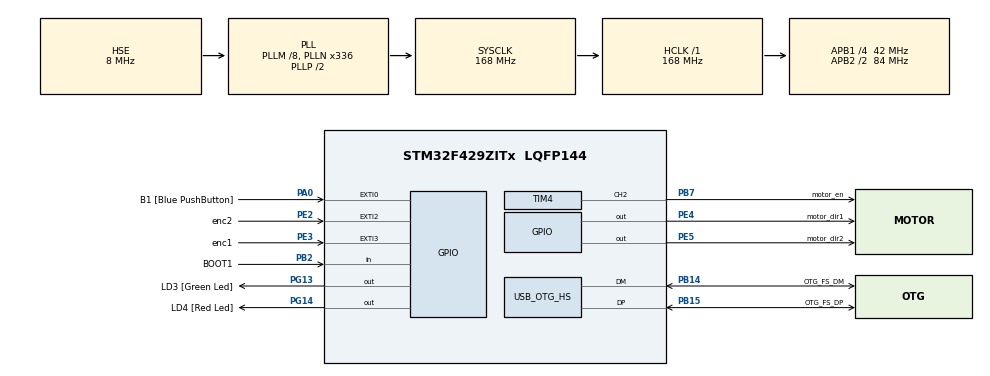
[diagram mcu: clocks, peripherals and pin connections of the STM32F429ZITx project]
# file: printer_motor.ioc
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Mcu.Family=STM32F4
Mcu.Name=STM32F429ZITx
Mcu.Package=LQFP144
NVIC.EXTI2_IRQn=true\:0\:1\:true\:false\:true\:true
NVIC.EXTI3_IRQn=true\:0\:1\:true\:false\:true\:true
NVIC.OTG_HS_IRQn=true\:0\:0\:false\:false\:true\:false
NVIC.PriorityGroup=NVIC_PRIORITYGROUP_0
PA0/WKUP.GPIO_Label=B1 [Blue PushButton]
PA0/WKUP.GPIO_ModeDefaultEXTI=GPIO_MODE_EVT_RISING
PA0/WKUP.GPIO_PuPd=GPIO_NOPULL
PA0/WKUP.Signal=GPXTI0
PA10.GPIO_Label=STLINK_TX [STM32F103CBT6_PA2]
PA10.Signal=USART1_RX
PA11.GPIO_Label=R4
PA11.GPIO_Mode=GPIO_MODE_AF_PP
PA11.GPIO_PuPd=GPIO_NOPULL
PA11.GPIO_Speed=GPIO_SPEED_FREQ_LOW
PA11.Signal=LTDC_R4
PA12.GPIO_Label=R5
PA12.GPIO_Mode=GPIO_MODE_AF_PP
PA12.GPIO_PuPd=GPIO_NOPULL
PA12.GPIO_Speed=GPIO_SPEED_FREQ_LOW
PA12.Signal=LTDC_R5
PA13.GPIO_Label=SWDIO
PA13.Signal=SYS_JTMS-SWDIO
PA14.GPIO_Label=SWCLK
PA14.Signal=SYS_JTCK-SWCLK
PA3.GPIO_Label=B5
PA3.GPIO_Mode=GPIO_MODE_AF_PP
PA3.GPIO_PuPd=GPIO_NOPULL
PA3.GPIO_Speed=GPIO_SPEED_FREQ_LOW
PA3.Signal=LTDC_B5
PA4.GPIO_Label=VSYNC
PA4.GPIO_Mode=GPIO_MODE_AF_PP
PA4.GPIO_PuPd=GPIO_NOPULL
PA4.GPIO_Speed=GPIO_SPEED_FREQ_LOW
PA4.Signal=LTDC_VSYNC
PA6.GPIO_Label=G2
PA6.GPIO_Mode=GPIO_MODE_AF_PP
PA6.GPIO_PuPd=GPIO_NOPULL
PA6.GPIO_Speed=GPIO_SPEED_FREQ_LOW
PA6.Signal=LTDC_G2
PA8.GPIO_Label=I2C3_SCL [ACP/RF_SCL]
PA8.GPIO_Mode=GPIO_MODE_AF_OD
PA8.GPIO_PuPd=GPIO_NOPULL
PA8.GPIO_Speed=GPIO_SPEED_FREQ_LOW
PA8.Signal=I2C3_SCL
PA9.GPIO_Label=STLINK_RX [STM32F103CBT6_PA3]
PA9.Signal=USART1_TX
PB0.GPIO_Label=R3
PB0.GPIO_Mode=GPIO_MODE_AF_PP
PB0.GPIO_PuPd=GPIO_NOPULL
PB0.GPIO_Speed=GPIO_SPEED_FREQ_LOW
PB0.Signal=LTDC_R3
PB1.GPIO_Label=R6
PB1.GPIO_Mode=GPIO_MODE_AF_PP
PB1.GPIO_PuPd=GPIO_NOPULL
PB1.GPIO_Speed=GPIO_SPEED_FREQ_LOW
PB1.Signal=LTDC_R6
PB10.GPIO_Label=G4
PB10.GPIO_Mode=GPIO_MODE_AF_PP
PB10.GPIO_PuPd=GPIO_NOPULL
PB10.GPIO_Speed=GPIO_SPEED_FREQ_LOW
PB10.Signal=LTDC_G4
PB11.GPIO_Label=G5
PB11.GPIO_Mode=GPIO_MODE_AF_PP
PB11.GPIO_PuPd=GPIO_NOPULL
PB11.GPIO_Speed=GPIO_SPEED_FREQ_LOW
PB11.Signal=LTDC_G5
PB12.GPIO_Label=OTG_FS_ID
PB12.GPIO_Mode=GPIO_MODE_AF_PP
PB12.GPIO_PuPd=GPIO_NOPULL
PB12.GPIO_Speed=GPIO_SPEED_FREQ_LOW
PB12.Signal=USB_OTG_HS_ID
PB13.GPIO_Label=VBUS_FS
PB13.GPIO_Mode=GPIO_MODE_INPUT
PB13.GPIO_PuPd=GPIO_NOPULL
PB13.Signal=USB_OTG_HS_VBUS
PB14.GPIO_Label=OTG_FS_DM
PB14.GPIO_Mode=GPIO_MODE_AF_PP
PB14.GPIO_PuPd=GPIO_NOPULL
PB14.GPIO_Speed=GPIO_SPEED_FREQ_LOW
PB14.Mode=Device_Only_FS
PB14.Signal=USB_OTG_HS_DM
PB15.GPIO_Label=OTG_FS_DP
PB15.GPIO_Mode=GPIO_MODE_AF_PP
PB15.GPIO_PuPd=GPIO_NOPULL
PB15.GPIO_Speed=GPIO_SPEED_FREQ_LOW
PB15.Mode=Device_Only_FS
PB15.Signal=USB_OTG_HS_DP
PB2/BOOT1.GPIO_Label=BOOT1
PB2/BOOT1.GPIO_Mode=GPIO_MODE_INPUT
PB2/BOOT1.GPIO_PuPd=GPIO_NOPULL
PB2/BOOT1.Signal=GPIO_Input
PB5.GPIO_Label=SDCKE1
PB5.GPIO_Mode=GPIO_MODE_AF_PP
PB5.GPIO_PuPd=GPIO_NOPULL
PB5.GPIO_Speed=GPIO_SPEED_FREQ_VERY_HIGH
PB5.Signal=FMC_SDCKE1
PB6.GPIO_Label=SDNE1 [SDRAM_CS]
PB6.GPIO_Mode=GPIO_MODE_AF_PP
PB6.GPIO_PuPd=GPIO_NOPULL
PB6.GPIO_Speed=GPIO_SPEED_FREQ_VERY_HIGH
PB6.Signal=FMC_SDNE1
PB7.GPIO_Label=motor_en
PB7.Signal=S_TIM4_CH2
PB8.GPIO_Label=B6
PB8.GPIO_Mode=GPIO_MODE_AF_PP
PB8.GPIO_PuPd=GPIO_NOPULL
PB8.GPIO_Speed=GPIO_SPEED_FREQ_LOW
PB8.Signal=LTDC_B6
PB9.GPIO_Label=B7
PB9.GPIO_Mode=GPIO_MODE_AF_PP
PB9.GPIO_PuPd=GPIO_NOPULL
PB9.GPIO_Speed=GPIO_SPEED_FREQ_LOW
PB9.Signal=LTDC_B7
PC0.GPIO_Label=SDNWE
PC0.GPIO_Mode=GPIO_MODE_AF_PP
PC0.GPIO_PuPd=GPIO_NOPULL
PC0.GPIO_Speed=GPIO_SPEED_FREQ_VERY_HIGH
PC0.Signal=FMC_SDNWE
PC10.GPIO_Label=R2
PC10.GPIO_Mode=GPIO_MODE_AF_PP
PC10.GPIO_PuPd=GPIO_NOPULL
PC10.GPIO_Speed=GPIO_SPEED_FREQ_LOW
PC10.Signal=LTDC_R2
PC14/OSC32_IN.GPIO_Label=PC14-OSC32_IN
PC14/OSC32_IN.Signal=RCC_OSC32_IN
PC15/OSC32_OUT.GPIO_Label=PC15-OSC32_OUT
PC15/OSC32_OUT.Signal=RCC_OSC32_OUT
PC6.GPIO_Label=HSYNC
PC6.GPIO_Mode=GPIO_MODE_AF_PP
PC6.GPIO_PuPd=GPIO_NOPULL
PC6.GPIO_Speed=GPIO_SPEED_FREQ_LOW
PC6.Signal=LTDC_HSYNC
PC7.GPIO_Label=G6
PC7.GPIO_Mode=GPIO_MODE_AF_PP
PC7.GPIO_PuPd=GPIO_NOPULL
PC7.GPIO_Speed=GPIO_SPEED_FREQ_LOW
PC7.Signal=LTDC_G6
PC9.GPIO_Label=I2C3_SDA [ACP/RF_SDA]
PC9.GPIO_Mode=GPIO_MODE_AF_OD
PC9.GPIO_PuPd=GPIO_NOPULL
PC9.GPIO_Speed=GPIO_SPEED_FREQ_LOW
PC9.Signal=I2C3_SDA
PD0.GPIO_Label=D2
PD0.GPIO_Mode=GPIO_MODE_AF_PP
PD0.GPIO_PuPd=GPIO_NOPULL
PD0.GPIO_Speed=GPIO_SPEED_FREQ_VERY_HIGH
PD0.Signal=FMC_D2_DA2
PD1.GPIO_Label=D3
PD1.GPIO_Mode=GPIO_MODE_AF_PP
PD1.GPIO_PuPd=GPIO_NOPULL
PD1.GPIO_Speed=GPIO_SPEED_FREQ_VERY_HIGH
PD1.Signal=FMC_D3_DA3
PD10.GPIO_Label=D15
PD10.GPIO_Mode=GPIO_MODE_AF_PP
PD10.GPIO_PuPd=GPIO_NOPULL
PD10.GPIO_Speed=GPIO_SPEED_FREQ_VERY_HIGH
PD10.Signal=FMC_D15_DA15
PD14.GPIO_Label=D0
PD14.GPIO_Mode=GPIO_MODE_AF_PP
PD14.GPIO_PuPd=GPIO_NOPULL
PD14.GPIO_Speed=GPIO_SPEED_FREQ_VERY_HIGH
PD14.Signal=FMC_D0_DA0
PD15.GPIO_Label=D1
PD15.GPIO_Mode=GPIO_MODE_AF_PP
PD15.GPIO_PuPd=GPIO_NOPULL
PD15.GPIO_Speed=GPIO_SPEED_FREQ_VERY_HIGH
PD15.Signal=FMC_D1_DA1
PD3.GPIO_Label=G7
PD3.GPIO_Mode=GPIO_MODE_AF_PP
PD3.GPIO_PuPd=GPIO_NOPULL
PD3.GPIO_Speed=GPIO_SPEED_FREQ_LOW
PD3.Signal=LTDC_G7
PD6.GPIO_Label=B2
PD6.GPIO_Mode=GPIO_MODE_AF_PP
PD6.GPIO_PuPd=GPIO_NOPULL
PD6.GPIO_Speed=GPIO_SPEED_FREQ_LOW
PD6.Signal=LTDC_B2
PD8.GPIO_Label=D13
PD8.GPIO_Mode=GPIO_MODE_AF_PP
PD8.GPIO_PuPd=GPIO_NOPULL
PD8.GPIO_Speed=GPIO_SPEED_FREQ_VERY_HIGH
PD8.Signal=FMC_D13_DA13
PD9.GPIO_Label=D14
PD9.GPIO_Mode=GPIO_MODE_AF_PP
PD9.GPIO_PuPd=GPIO_NOPULL
PD9.GPIO_Speed=GPIO_SPEED_FREQ_VERY_HIGH
PD9.Signal=FMC_D14_DA14
PE0.GPIO_Label=NBL0 [SDRAM_LDQM]
PE0.GPIO_Mode=GPIO_MODE_AF_PP
PE0.GPIO_PuPd=GPIO_NOPULL
PE0.GPIO_Speed=GPIO_SPEED_FREQ_VERY_HIGH
PE0.Signal=FMC_NBL0
PE1.GPIO_Label=NBL1 [SDRAM_UDQM]
PE1.GPIO_Mode=GPIO_MODE_AF_PP
PE1.GPIO_PuPd=GPIO_NOPULL
PE1.GPIO_Speed=GPIO_SPEED_FREQ_VERY_HIGH
PE1.Signal=FMC_NBL1
PE10.GPIO_Label=D7
PE10.GPIO_Mode=GPIO_MODE_AF_PP
PE10.GPIO_PuPd=GPIO_NOPULL
PE10.GPIO_Speed=GPIO_SPEED_FREQ_VERY_HIGH
PE10.Signal=FMC_D7_DA7
PE11.GPIO_Label=D8
PE11.GPIO_Mode=GPIO_MODE_AF_PP
PE11.GPIO_PuPd=GPIO_NOPULL
PE11.GPIO_Speed=GPIO_SPEED_FREQ_VERY_HIGH
PE11.Signal=FMC_D8_DA8
PE12.GPIO_Label=D9
PE12.GPIO_Mode=GPIO_MODE_AF_PP
PE12.GPIO_PuPd=GPIO_NOPULL
PE12.GPIO_Speed=GPIO_SPEED_FREQ_VERY_HIGH
PE12.Signal=FMC_D9_DA9
PE13.GPIO_Label=D10
PE13.GPIO_Mode=GPIO_MODE_AF_PP
PE13.GPIO_PuPd=GPIO_NOPULL
PE13.GPIO_Speed=GPIO_SPEED_FREQ_VERY_HIGH
PE13.Signal=FMC_D10_DA10
PE14.GPIO_Label=D11
PE14.GPIO_Mode=GPIO_MODE_AF_PP
PE14.GPIO_PuPd=GPIO_NOPULL
PE14.GPIO_Speed=GPIO_SPEED_FREQ_VERY_HIGH
PE14.Signal=FMC_D11_DA11
PE15.GPIO_Label=D12
PE15.GPIO_Mode=GPIO_MODE_AF_PP
PE15.GPIO_PuPd=GPIO_NOPULL
PE15.GPIO_Speed=GPIO_SPEED_FREQ_VERY_HIGH
PE15.Signal=FMC_D12_DA12
PE2.GPIO_Label=enc2
PE2.GPIO_ModeDefaultEXTI=GPIO_MODE_IT_RISING_FALLING
PE2.GPIO_PuPd=GPIO_PULLDOWN
PE2.Signal=GPXTI2
PE3.GPIO_Label=enc1
PE3.GPIO_ModeDefaultEXTI=GPIO_MODE_IT_RISING_FALLING
PE3.GPIO_PuPd=GPIO_PULLDOWN
PE3.Signal=GPXTI3
PE4.GPIO_Label=motor_dir1
PE4.Signal=GPIO_Output
PE5.GPIO_Label=motor_dir2
PE5.Signal=GPIO_Output
PE7.GPIO_Label=D4
PE7.GPIO_Mode=GPIO_MODE_AF_PP
PE7.GPIO_PuPd=GPIO_NOPULL
PE7.GPIO_Speed=GPIO_SPEED_FREQ_VERY_HIGH
PE7.Signal=FMC_D4_DA4
PE8.GPIO_Label=D5
PE8.GPIO_Mode=GPIO_MODE_AF_PP
PE8.GPIO_PuPd=GPIO_NOPULL
PE8.GPIO_Speed=GPIO_SPEED_FREQ_VERY_HIGH
PE8.Signal=FMC_D5_DA5
PE9.GPIO_Label=D6
PE9.GPIO_Mode=GPIO_MODE_AF_PP
PE9.GPIO_PuPd=GPIO_NOPULL
PE9.GPIO_Speed=GPIO_SPEED_FREQ_VERY_HIGH
PE9.Signal=FMC_D6_DA6
PF0.GPIO_Label=A0
PF0.GPIO_Mode=GPIO_MODE_AF_PP
PF0.GPIO_PuPd=GPIO_NOPULL
PF0.GPIO_Speed=GPIO_SPEED_FREQ_VERY_HIGH
PF0.Signal=FMC_A0
PF1.GPIO_Label=A1
PF1.GPIO_Mode=GPIO_MODE_AF_PP
PF1.GPIO_PuPd=GPIO_NOPULL
PF1.GPIO_Speed=GPIO_SPEED_FREQ_VERY_HIGH
PF1.Signal=FMC_A1
PF10.GPIO_Label=ENABLE [LCD-RGB_ENABLE]
PF10.GPIO_Mode=GPIO_MODE_AF_PP
PF10.GPIO_PuPd=GPIO_NOPULL
PF10.GPIO_Speed=GPIO_SPEED_FREQ_LOW
PF10.Signal=LTDC_DE
PF11.GPIO_Label=SDNRAS
PF11.GPIO_Mode=GPIO_MODE_AF_PP
PF11.GPIO_PuPd=GPIO_NOPULL
PF11.GPIO_Speed=GPIO_SPEED_FREQ_VERY_HIGH
PF11.Signal=FMC_SDNRAS
PF12.GPIO_Label=A6
PF12.GPIO_Mode=GPIO_MODE_AF_PP
PF12.GPIO_PuPd=GPIO_NOPULL
PF12.GPIO_Speed=GPIO_SPEED_FREQ_VERY_HIGH
PF12.Signal=FMC_A6
PF13.GPIO_Label=A7
PF13.GPIO_Mode=GPIO_MODE_AF_PP
PF13.GPIO_PuPd=GPIO_NOPULL
PF13.GPIO_Speed=GPIO_SPEED_FREQ_VERY_HIGH
PF13.Signal=FMC_A7
PF14.GPIO_Label=A8
PF14.GPIO_Mode=GPIO_MODE_AF_PP
PF14.GPIO_PuPd=GPIO_NOPULL
PF14.GPIO_Speed=GPIO_SPEED_FREQ_VERY_HIGH
PF14.Signal=FMC_A8
PF15.GPIO_Label=A9
PF15.GPIO_Mode=GPIO_MODE_AF_PP
PF15.GPIO_PuPd=GPIO_NOPULL
PF15.GPIO_Speed=GPIO_SPEED_FREQ_VERY_HIGH
PF15.Signal=FMC_A9
PF2.GPIO_Label=A2
PF2.GPIO_Mode=GPIO_MODE_AF_PP
PF2.GPIO_PuPd=GPIO_NOPULL
PF2.GPIO_Speed=GPIO_SPEED_FREQ_VERY_HIGH
PF2.Signal=FMC_A2
PF3.GPIO_Label=A3
PF3.GPIO_Mode=GPIO_MODE_AF_PP
PF3.GPIO_PuPd=GPIO_NOPULL
PF3.GPIO_Speed=GPIO_SPEED_FREQ_VERY_HIGH
PF3.Signal=FMC_A3
PF4.GPIO_Label=A4
PF4.GPIO_Mode=GPIO_MODE_AF_PP
PF4.GPIO_PuPd=GPIO_NOPULL
PF4.GPIO_Speed=GPIO_SPEED_FREQ_VERY_HIGH
PF4.Signal=FMC_A4
PF5.GPIO_Label=A5
PF5.GPIO_Mode=GPIO_MODE_AF_PP
PF5.GPIO_PuPd=GPIO_NOPULL
PF5.GPIO_Speed=GPIO_SPEED_FREQ_VERY_HIGH
PF5.Signal=FMC_A5
PF7.GPIO_Label=SPI5_SCK [L3GD20_SCL/SPC]
PF7.GPIO_Mode=GPIO_MODE_AF_PP
PF7.GPIO_PuPd=GPIO_NOPULL
PF7.GPIO_Speed=GPIO_SPEED_FREQ_LOW
PF7.Signal=SPI5_SCK
PF8.GPIO_Label=SPI5_MISO [L3GD20_SDO]
PF8.GPIO_Mode=GPIO_MODE_AF_PP
PF8.GPIO_PuPd=GPIO_NOPULL
PF8.GPIO_Speed=GPIO_SPEED_FREQ_LOW
PF8.Signal=SPI5_MISO
PF9.GPIO_Label=SPI5_MOSI [L3GD20_SDA/SDI/SDO]
PF9.GPIO_Mode=GPIO_MODE_AF_PP
PF9.GPIO_PuPd=GPIO_NOPULL
PF9.GPIO_Speed=GPIO_SPEED_FREQ_LOW
PF9.Signal=SPI5_MOSI
PG0.GPIO_Label=A10
PG0.GPIO_Mode=GPIO_MODE_AF_PP
PG0.GPIO_PuPd=GPIO_NOPULL
PG0.GPIO_Speed=GPIO_SPEED_FREQ_VERY_HIGH
PG0.Signal=FMC_A10
PG1.GPIO_Label=A11
PG1.GPIO_Mode=GPIO_MODE_AF_PP
PG1.GPIO_PuPd=GPIO_NOPULL
PG1.GPIO_Speed=GPIO_SPEED_FREQ_VERY_HIGH
PG1.Signal=FMC_A11
PG10.GPIO_Label=G3
PG10.GPIO_Mode=GPIO_MODE_AF_PP
PG10.GPIO_PuPd=GPIO_NOPULL
PG10.GPIO_Speed=GPIO_SPEED_FREQ_LOW
PG10.Signal=LTDC_G3
PG11.GPIO_Label=B3
PG11.GPIO_Mode=GPIO_MODE_AF_PP
PG11.GPIO_PuPd=GPIO_NOPULL
PG11.GPIO_Speed=GPIO_SPEED_FREQ_LOW
PG11.Signal=LTDC_B3
PG12.GPIO_Label=B4
PG12.GPIO_Mode=GPIO_MODE_AF_PP
PG12.GPIO_PuPd=GPIO_NOPULL
PG12.GPIO_Speed=GPIO_SPEED_FREQ_LOW
PG12.Signal=LTDC_B4
PG13.GPIO_Label=LD3 [Green Led]
PG13.GPIO_Mode=GPIO_MODE_OUTPUT_PP
PG13.GPIO_PuPd=GPIO_NOPULL
PG13.GPIO_Speed=GPIO_SPEED_FREQ_LOW
PG13.Signal=GPIO_Output
PG14.GPIO_Label=LD4 [Red Led]
PG14.GPIO_Mode=GPIO_MODE_OUTPUT_PP
PG14.GPIO_PuPd=GPIO_NOPULL
PG14.GPIO_Speed=GPIO_SPEED_FREQ_LOW
PG14.Signal=GPIO_Output
PG15.GPIO_Label=SDNCAS
PG15.GPIO_Mode=GPIO_MODE_AF_PP
PG15.GPIO_PuPd=GPIO_NOPULL
PG15.GPIO_Speed=GPIO_SPEED_FREQ_VERY_HIGH
PG15.Signal=FMC_SDNCAS
PG4.GPIO_Label=BA0
PG4.GPIO_Mode=GPIO_MODE_AF_PP
PG4.GPIO_PuPd=GPIO_NOPULL
PG4.GPIO_Speed=GPIO_SPEED_FREQ_VERY_HIGH
PG4.Signal=FMC_A14_BA0
PG5.GPIO_Label=BA1
PG5.GPIO_Mode=GPIO_MODE_AF_PP
PG5.GPIO_PuPd=GPIO_NOPULL
PG5.GPIO_Speed=GPIO_SPEED_FREQ_VERY_HIGH
PG5.Signal=FMC_A15_BA1
PG6.GPIO_Label=R7
PG6.GPIO_Mode=GPIO_MODE_AF_PP
PG6.GPIO_PuPd=GPIO_NOPULL
PG6.GPIO_Speed=GPIO_SPEED_FREQ_LOW
PG6.Signal=LTDC_R7
PG7.GPIO_Label=DOTCLK [LCT-RGB_DOTCLK]
PG7.GPIO_Mode=GPIO_MODE_AF_PP
PG7.GPIO_PuPd=GPIO_NOPULL
PG7.GPIO_Speed=GPIO_SPEED_FREQ_LOW
PG7.Signal=LTDC_CLK
PG8.GPIO_Label=SDCLK
PG8.GPIO_Mode=GPIO_MODE_AF_PP
PG8.GPIO_PuPd=GPIO_NOPULL
PG8.GPIO_Speed=GPIO_SPEED_FREQ_VERY_HIGH
PG8.Signal=FMC_SDCLK
PH0/OSC_IN.GPIO_Label=PH0-OSC_IN
PH0/OSC_IN.Mode=HSE-External-Oscillator
PH0/OSC_IN.Signal=RCC_OSC_IN
PH1/OSC_OUT.GPIO_Label=PH1-OSC_OUT
PH1/OSC_OUT.Mode=HSE-External-Oscillator
PH1/OSC_OUT.Signal=RCC_OSC_OUT
ProjectManager.HeapSize=0x1200
ProjectManager.StackSize=0x400
ProjectManager.TargetToolchain=SW4STM32
RCC.48MHZClocksFreq_Value=48000000
RCC.AHBFreq_Value=168000000
RCC.APB1CLKDivider=RCC_HCLK_DIV4
RCC.APB1Freq_Value=42000000
RCC.APB1TimFreq_Value=84000000
RCC.APB2CLKDivider=RCC_HCLK_DIV2
RCC.APB2Freq_Value=84000000
RCC.APB2TimFreq_Value=168000000
RCC.CortexFreq_Value=168000000
RCC.HCLKFreq_Value=168000000
RCC.HSE_VALUE=8000000
RCC.HSI_VALUE=16000000
RCC.LSE_VALUE=32768
RCC.PLLM=8
RCC.PLLN=336
RCC.PLLQ=7
RCC.SYSCLKFreq_VALUE=168000000
RCC.SYSCLKSource=RCC_SYSCLKSOURCE_PLLCLK
RCC.VCOOutputFreq_Value=336000000
SH.FMC_A0.0=FMC_A0
SH.FMC_A1.0=FMC_A1
SH.FMC_A10.0=FMC_A10
SH.FMC_A11.0=FMC_A11
SH.FMC_A14_BA0.0=FMC_BA0
SH.FMC_A15_BA1.0=FMC_BA1
SH.FMC_A2.0=FMC_A2
SH.FMC_A3.0=FMC_A3
SH.FMC_A4.0=FMC_A4
SH.FMC_A5.0=FMC_A5
SH.FMC_A6.0=FMC_A6
SH.FMC_A7.0=FMC_A7
SH.FMC_A8.0=FMC_A8
SH.FMC_A9.0=FMC_A9
SH.FMC_D0_DA0.0=FMC_D0
SH.FMC_D10_DA10.0=FMC_D10
SH.FMC_D11_DA11.0=FMC_D11
SH.FMC_D12_DA12.0=FMC_D12
SH.FMC_D13_DA13.0=FMC_D13
SH.FMC_D14_DA14.0=FMC_D14
SH.FMC_D15_DA15.0=FMC_D15
SH.FMC_D1_DA1.0=FMC_D1
SH.FMC_D2_DA2.0=FMC_D2
SH.FMC_D3_DA3.0=FMC_D3
SH.FMC_D4_DA4.0=FMC_D4
SH.FMC_D5_DA5.0=FMC_D5
SH.FMC_D6_DA6.0=FMC_D6
SH.FMC_D7_DA7.0=FMC_D7
SH.FMC_D8_DA8.0=FMC_D8
SH.FMC_D9_DA9.0=FMC_D9
SH.FMC_NBL0.0=FMC_NBL0
SH.FMC_NBL1.0=FMC_NBL1
SH.FMC_SDCLK.0=FMC_SDCLK
SH.FMC_SDNCAS.0=FMC_SDNCAS
SH.FMC_SDNRAS.0=FMC_SDNRAS
SH.FMC_SDNWE.0=FMC_SDNWE
SH.S_TIM4_CH2.0=TIM4_CH2,PWM Generation2 CH2
TIM4.Channel-PWM\ Generation2\ CH2=TIM_CHANNEL_2
TIM4.OCMode_PWM-PWM\ Generation2\ CH2=TIM_OCMODE_PWM1
TIM4.Period=101
TIM4.Prescaler=35
TIM4.Pulse-PWM\ Generation2\ CH2=50
USB_DEVICE.CLASS_NAME_HS=CDC
USB_DEVICE.MANUFACTURER_STRING-CDC_HS=MeSTMicroelectronics
USB_DEVICE.PRODUCT_STRING_CDC_HS=MySTM32 Virtual ComPort
USB_DEVICE.VirtualMode-CDC_HS=Cdc
USB_DEVICE.VirtualModeHS=Cdc_HS
USB_OTG_HS.VirtualMode-Device_Only_FS=Device_Only_FS
VP_USB_DEVICE_VS_USB_DEVICE_CDC_HS.Mode=CDC_HS
board=STM32F429I-DISC1

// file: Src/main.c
/**
  ******************************************************************************
  * File Name          : main.c
  * Description        : Main program body
  ******************************************************************************
  * This notice applies to any and all portions of this file
  * that are not between comment pairs USER CODE BEGIN and
  * USER CODE END. Other portions of this file, whether
  * inserted by the user or by software development tools
  * are owned by their respective copyright owners.
  *
  * Copyright (c) 2019 STMicroelectronics International N.V.
  * All rights reserved.
  *
  * Redistribution and use in source and binary forms, with or without
  * modification, are permitted, provided that the following conditions are met:
  *
  * 1. Redistribution of source code must retain the above copyright notice,
  *    this list of conditions and the following disclaimer.
  * 2. Redistributions in binary form must reproduce the above copyright notice,
  *    this list of conditions and the following disclaimer in the documentation
  *    and/or other materials provided with the distribution.
  * 3. Neither the name of STMicroelectronics nor the names of other
  *    contributors to this software may be used to endorse or promote products
  *    derived from this software without specific written permission.
  * 4. This software, including modifications and/or derivative works of this
  *    software, must execute solely and exclusively on microcontroller or
  *    microprocessor devices manufactured by or for STMicroelectronics.
  * 5. Redistribution and use of this software other than as permitted under
  *    this license is void and will automatically terminate your rights under
  *    this license.
  *
  * THIS SOFTWARE IS PROVIDED BY STMICROELECTRONICS AND CONTRIBUTORS "AS IS"
  * AND ANY EXPRESS, IMPLIED OR STATUTORY WARRANTIES, INCLUDING, BUT NOT
  * LIMITED TO, THE IMPLIED WARRANTIES OF MERCHANTABILITY, FITNESS FOR A
  * PARTICULAR PURPOSE AND NON-INFRINGEMENT OF THIRD PARTY INTELLECTUAL PROPERTY
  * RIGHTS ARE DISCLAIMED TO THE FULLEST EXTENT PERMITTED BY LAW. IN NO EVENT
  * SHALL STMICROELECTRONICS OR CONTRIBUTORS BE LIABLE FOR ANY DIRECT, INDIRECT,
  * INCIDENTAL, SPECIAL, EXEMPLARY, OR CONSEQUENTIAL DAMAGES (INCLUDING, BUT NOT
  * LIMITED TO, PROCUREMENT OF SUBSTITUTE GOODS OR SERVICES; LOSS OF USE, DATA,
  * OR PROFITS; OR BUSINESS INTERRUPTION) HOWEVER CAUSED AND ON ANY THEORY OF
  * LIABILITY, WHETHER IN CONTRACT, STRICT LIABILITY, OR TORT (INCLUDING
  * NEGLIGENCE OR OTHERWISE) ARISING IN ANY WAY OUT OF THE USE OF THIS SOFTWARE,
  * EVEN IF ADVISED OF THE POSSIBILITY OF SUCH DAMAGE.
  *
  ******************************************************************************
  */

#include "main.h"
#include "stm32f4xx_hal.h"
#include "usb_device.h"

TIM_HandleTypeDef htim4;

/* USER CODE BEGIN PV */
/* Private variables ---------------------------------------------------------*/

/* USER CODE END PV */

void SystemClock_Config(void);
static void MX_GPIO_Init(void);
static void MX_TIM4_Init(void);
void HAL_TIM_MspPostInit(TIM_HandleTypeDef *htim);

/* USER CODE BEGIN PFP */
/* Private function prototypes -----------------------------------------------*/

uint8_t new_rx = 0;
uint8_t  start = 0;
long payload_len = 0; // my data size
long packet_len = 0;  // total data received over serial
int location = 0;
int set_loc = 0;
int enc_old = 0;
long speed = 0;
uint32_t last_time = 0;
float cumulativeError = 0;
int previous_error = 0;
float kp = 0.001;
float ki = 0;
float kd = 0;

uint8_t UserRxBufferHS[2048];
uint8_t UserTxBufferHS[2048];

void error_state(){
	HAL_GPIO_WritePin(LD4_GPIO_Port, LD4_Pin, GPIO_PIN_SET);
}

void send_payload(){

}

void motor(int speed, int dir){
	if (!dir){
		HAL_GPIO_WritePin(motor_dir1_GPIO_Port, motor_dir1_Pin, 1);
		HAL_GPIO_WritePin(motor_dir2_GPIO_Port, motor_dir2_Pin, 0);
		HAL_GPIO_WritePin(LD3_GPIO_Port, LD3_Pin, GPIO_PIN_SET);
	}
	else{
		HAL_GPIO_WritePin(motor_dir1_GPIO_Port, motor_dir1_Pin, 0);
		HAL_GPIO_WritePin(motor_dir2_GPIO_Port, motor_dir2_Pin, 1);
		HAL_GPIO_WritePin(LD3_GPIO_Port, LD3_Pin, GPIO_PIN_RESET);
	}
	__HAL_TIM_SET_COMPARE(&htim4, TIM_CHANNEL_2, speed); // set duty cycle 0->101 using CCR register
}

int map50_100(float pwm){ // -1 to 1 to 50 to 100. does not take dir into account.
	if (pwm < 0){ // -ve dir
		pwm = pwm * -1;
	}
	if (pwm > 1){ // maxed
		pwm = 1;
	}
	return (pwm+1)*50;
}

void x_task(){
	int error = set_loc - location;
	float prop = error*kp;

//	uint32_t cur_time = HAL_GetTick();
//	uint32_t elasped_time = cur_time - last_time;
	cumulativeError += error*ki;
	if (cumulativeError > 1){
		cumulativeError = 1;
	}
	if (cumulativeError < -1){
		cumulativeError = -1;
	}

	float derivative = (error - previous_error)*kd;
	float pwm = prop + cumulativeError + derivative;

//	last_time = cur_time;
	previous_error = error;
	if (error == 0) // completely kill
	{
		motor(0, 0);
	}
	if (pwm < 0){
		motor(map50_100(pwm), 0); // left
	}
	else{
		motor(map50_100(pwm), 1); // right
	}
//	int len = snprintf(UserTxBufferHS, 100, "p=%f,i=%f,d=%f,pg=%f,ig=%f,dg=%f,e=%d,pwm=%f\n",prop, cumulativeError, derivative, kp, ki, kd, error, pwm);
//	CDC_Transmit_HS(UserTxBufferHS, len); // send it out
}

void decode_payload(){
	char type = UserRxBufferHS[0];
	if (type == 'm'){ // motor
		speed = strtol(UserRxBufferHS+1, (char **)NULL, 10); // speed in byte 1 onwards
	}
	else if (type == 'x'){
		set_loc = strtol(UserRxBufferHS+1, (char **)NULL, 10);
		start = 1;
	}
	else if (type == 'p'){
		kp = strtol(UserRxBufferHS+1, (char **)NULL, 10)/10000000.0; // prop gain
		int len = snprintf(UserTxBufferHS, 100, "pg=%f\n", kp);
		CDC_Transmit_HS(UserTxBufferHS, len); // send it out
	}
	else if (type == 'i'){
		ki = strtol(UserRxBufferHS+1, (char **)NULL, 10)/10000000.0; // int gain
		int len = snprintf(UserTxBufferHS, 100, "ig=%f\n", ki);
		CDC_Transmit_HS(UserTxBufferHS, len); // send it out
	}
	else if (type == 'd'){
		kd = strtol(UserRxBufferHS+1, (char **)NULL, 10)/10000000.0; // deriv gain
		int len = snprintf(UserTxBufferHS, 100, "dg=%f\n", kd);
		CDC_Transmit_HS(UserTxBufferHS, len); // send it out
	}
}

void comm_routine(){
	if (new_rx){
		decode_payload();
//		strncpy(UserTxBufferHS, UserRxBufferHS, packet_len-1); // loopback the received data
//		snprintf(UserTxBufferHS+packet_len-1, 2048-packet_len-1, " loc=%d\n", location);
//		CDC_Transmit_HS(UserTxBufferHS, packet_len+30); // send it out
		new_rx = 0;
	}
}

void encoder_routine(uint16_t GPIO_Pin)
{
	int QEM [16] = {0,-1,1,2,1,0,2,-1,-1,2,0,1,2,1,-1,0};
	int enc = HAL_GPIO_ReadPin(enc1_GPIO_Port, enc1_Pin)*2 + HAL_GPIO_ReadPin(enc2_GPIO_Port, enc2_Pin); // convert to code 0-3
	int step = QEM [enc_old * 4 + enc];
	if (step == 2){
		error_state();
	}
	else{
		location = location + step;
	}
	enc_old = enc;
	uint32_t time = HAL_GetTick();
//	int len = snprintf(UserTxBufferHS, 40, "%u,%d\n",time, location);
//	CDC_Transmit_HS(UserTxBufferHS, len); // send it out

}

/* USER CODE END PFP */

int main(void)
{

  /* MCU Configuration----------------------------------------------------------*/

  /* Reset of all peripherals, Initializes the Flash interface and the Systick. */
  HAL_Init();

  /* Configure the system clock */
  SystemClock_Config();

  /* Initialize all configured peripherals */
  MX_GPIO_Init();
  MX_TIM4_Init();
  MX_USB_DEVICE_Init();

  /* USER CODE BEGIN 2 */
	HAL_GPIO_WritePin(LD3_GPIO_Port, LD3_Pin, GPIO_PIN_RESET);
	HAL_GPIO_WritePin(LD4_GPIO_Port, LD4_Pin, GPIO_PIN_RESET);
	HAL_TIM_PWM_Start(&htim4, TIM_CHANNEL_2); // channell 2
	enc_old = HAL_GPIO_ReadPin(enc1_GPIO_Port, enc1_Pin)*2 + HAL_GPIO_ReadPin(enc2_GPIO_Port, enc2_Pin);
  /* USER CODE END 2 */

  /* Infinite loop */
  /* USER CODE BEGIN WHILE */
//  HAL_Delay(2000);
	int push = 0;
  while (1)
  {
	  __NOP();
	  comm_routine();
	  if (start){
		  x_task();
	  }
	  HAL_Delay(2);
	  if (HAL_GPIO_ReadPin(B1_GPIO_Port, B1_Pin)){
		  if (push == 0)
		  {
			HAL_GPIO_WritePin(LD4_GPIO_Port, LD4_Pin, GPIO_PIN_RESET);
			snprintf(UserTxBufferHS, 20, " loc=%d\n", location);
			CDC_Transmit_HS(UserTxBufferHS, 20); // send it out
//			location = 0;
			push = 1;
		  }
	  }
	  else{
		  push = 0;
	  }

  /* USER CODE END WHILE */

  }

}

/** System Clock Configuration
*/
void SystemClock_Config(void)
{

  RCC_OscInitTypeDef RCC_OscInitStruct;
  RCC_ClkInitTypeDef RCC_ClkInitStruct;

    /**Configure the main internal regulator output voltage
    */
  __HAL_RCC_PWR_CLK_ENABLE();

  __HAL_PWR_VOLTAGESCALING_CONFIG(PWR_REGULATOR_VOLTAGE_SCALE1);

    /**Initializes the CPU, AHB and APB busses clocks
    */
  RCC_OscInitStruct.OscillatorType = RCC_OSCILLATORTYPE_HSE;
  RCC_OscInitStruct.HSEState = RCC_HSE_ON;
  RCC_OscInitStruct.PLL.PLLState = RCC_PLL_ON;
  RCC_OscInitStruct.PLL.PLLSource = RCC_PLLSOURCE_HSE;
  RCC_OscInitStruct.PLL.PLLM = 8;
  RCC_OscInitStruct.PLL.PLLN = 336;
  RCC_OscInitStruct.PLL.PLLP = RCC_PLLP_DIV2;
  RCC_OscInitStruct.PLL.PLLQ = 7;
  if (HAL_RCC_OscConfig(&RCC_OscInitStruct) != HAL_OK)
  {
    _Error_Handler(__FILE__, __LINE__);
  }

    /**Initializes the CPU, AHB and APB busses clocks
    */
  RCC_ClkInitStruct.ClockType = RCC_CLOCKTYPE_HCLK|RCC_CLOCKTYPE_SYSCLK
                              |RCC_CLOCKTYPE_PCLK1|RCC_CLOCKTYPE_PCLK2;
  RCC_ClkInitStruct.SYSCLKSource = RCC_SYSCLKSOURCE_PLLCLK;
  RCC_ClkInitStruct.AHBCLKDivider = RCC_SYSCLK_DIV1;
  RCC_ClkInitStruct.APB1CLKDivider = RCC_HCLK_DIV4;
  RCC_ClkInitStruct.APB2CLKDivider = RCC_HCLK_DIV2;

  if (HAL_RCC_ClockConfig(&RCC_ClkInitStruct, FLASH_LATENCY_5) != HAL_OK)
  {
    _Error_Handler(__FILE__, __LINE__);
  }

    /**Configure the Systick interrupt time
    */
  HAL_SYSTICK_Config(HAL_RCC_GetHCLKFreq()/1000);

    /**Configure the Systick
    */
  HAL_SYSTICK_CLKSourceConfig(SYSTICK_CLKSOURCE_HCLK);

  /* SysTick_IRQn interrupt configuration */
  HAL_NVIC_SetPriority(SysTick_IRQn, 0, 0);
}

/* TIM4 init function */
static void MX_TIM4_Init(void)
{

  TIM_MasterConfigTypeDef sMasterConfig;
  TIM_OC_InitTypeDef sConfigOC;

  htim4.Instance = TIM4;
  htim4.Init.Prescaler = 60;
  htim4.Init.CounterMode = TIM_COUNTERMODE_UP;
  htim4.Init.Period = 101;
  htim4.Init.ClockDivision = TIM_CLOCKDIVISION_DIV1;
  if (HAL_TIM_PWM_Init(&htim4) != HAL_OK)
  {
    _Error_Handler(__FILE__, __LINE__);
  }

  sMasterConfig.MasterOutputTrigger = TIM_TRGO_RESET;
  sMasterConfig.MasterSlaveMode = TIM_MASTERSLAVEMODE_DISABLE;
  if (HAL_TIMEx_MasterConfigSynchronization(&htim4, &sMasterConfig) != HAL_OK)
  {
    _Error_Handler(__FILE__, __LINE__);
  }

  sConfigOC.OCMode = TIM_OCMODE_PWM1;
  sConfigOC.Pulse = 50;
  sConfigOC.OCPolarity = TIM_OCPOLARITY_HIGH;
  sConfigOC.OCFastMode = TIM_OCFAST_DISABLE;
  if (HAL_TIM_PWM_ConfigChannel(&htim4, &sConfigOC, TIM_CHANNEL_2) != HAL_OK)
  {
    _Error_Handler(__FILE__, __LINE__);
  }

  HAL_TIM_MspPostInit(&htim4);

}

/** Configure pins as
        * Analog
        * Input
        * Output
        * EVENT_OUT
        * EXTI
     PF0   ------> FMC_A0
     PF1   ------> FMC_A1
     PF2   ------> FMC_A2
     PF3   ------> FMC_A3
     PF4   ------> FMC_A4
     PF5   ------> FMC_A5
     PF7   ------> SPI5_SCK
     PF8   ------> SPI5_MISO
     PF9   ------> SPI5_MOSI
     PF10   ------> LTDC_DE
     PC0   ------> FMC_SDNWE
     PA3   ------> LTDC_B5
     PA4   ------> LTDC_VSYNC
     PA6   ------> LTDC_G2
     PB0   ------> LTDC_R3
     PB1   ------> LTDC_R6
     PF11   ------> FMC_SDNRAS
     PF12   ------> FMC_A6
     PF13   ------> FMC_A7
     PF14   ------> FMC_A8
     PF15   ------> FMC_A9
     PG0   ------> FMC_A10
     PG1   ------> FMC_A11
     PE7   ------> FMC_D4_DA4
     PE8   ------> FMC_D5_DA5
     PE9   ------> FMC_D6_DA6
     PE10   ------> FMC_D7_DA7
     PE11   ------> FMC_D8_DA8
     PE12   ------> FMC_D9_DA9
     PE13   ------> FMC_D10_DA10
     PE14   ------> FMC_D11_DA11
     PE15   ------> FMC_D12_DA12
     PB10   ------> LTDC_G4
     PB11   ------> LTDC_G5
     PD8   ------> FMC_D13_DA13
     PD9   ------> FMC_D14_DA14
     PD10   ------> FMC_D15_DA15
     PD14   ------> FMC_D0_DA0
     PD15   ------> FMC_D1_DA1
     PG4   ------> FMC_A14_BA0
     PG5   ------> FMC_A15_BA1
     PG6   ------> LTDC_R7
     PG7   ------> LTDC_CLK
     PG8   ------> FMC_SDCLK
     PC6   ------> LTDC_HSYNC
     PC7   ------> LTDC_G6
     PC9   ------> I2C3_SDA
     PA8   ------> I2C3_SCL
     PA9   ------> USART1_TX
     PA10   ------> USART1_RX
     PA11   ------> LTDC_R4
     PA12   ------> LTDC_R5
     PC10   ------> LTDC_R2
     PD0   ------> FMC_D2_DA2
     PD1   ------> FMC_D3_DA3
     PD3   ------> LTDC_G7
     PD6   ------> LTDC_B2
     PG10   ------> LTDC_G3
     PG11   ------> LTDC_B3
     PG12   ------> LTDC_B4
     PG15   ------> FMC_SDNCAS
     PB5   ------> FMC_SDCKE1
     PB6   ------> FMC_SDNE1
     PB8   ------> LTDC_B6
     PB9   ------> LTDC_B7
     PE0   ------> FMC_NBL0
     PE1   ------> FMC_NBL1
*/
static void MX_GPIO_Init(void)
{

  GPIO_InitTypeDef GPIO_InitStruct;

  /* GPIO Ports Clock Enable */
  __HAL_RCC_GPIOE_CLK_ENABLE();
  __HAL_RCC_GPIOC_CLK_ENABLE();
  __HAL_RCC_GPIOF_CLK_ENABLE();
  __HAL_RCC_GPIOH_CLK_ENABLE();
  __HAL_RCC_GPIOA_CLK_ENABLE();
  __HAL_RCC_GPIOB_CLK_ENABLE();
  __HAL_RCC_GPIOG_CLK_ENABLE();
  __HAL_RCC_GPIOD_CLK_ENABLE();

  /*Configure GPIO pin Output Level */
  HAL_GPIO_WritePin(GPIOE, motor_dir1_Pin|motor_dir2_Pin, GPIO_PIN_RESET);

  /*Configure GPIO pin Output Level */
  HAL_GPIO_WritePin(GPIOG, LD3_Pin|LD4_Pin, GPIO_PIN_RESET);

  /*Configure GPIO pins : enc2_Pin enc1_Pin */
  GPIO_InitStruct.Pin = enc2_Pin|enc1_Pin;
  GPIO_InitStruct.Mode = GPIO_MODE_IT_RISING_FALLING;
  GPIO_InitStruct.Pull = GPIO_PULLDOWN;
  HAL_GPIO_Init(GPIOE, &GPIO_InitStruct);

  /*Configure GPIO pins : motor_dir1_Pin motor_dir2_Pin */
  GPIO_InitStruct.Pin = motor_dir1_Pin|motor_dir2_Pin;
  GPIO_InitStruct.Mode = GPIO_MODE_OUTPUT_PP;
  GPIO_InitStruct.Pull = GPIO_NOPULL;
  GPIO_InitStruct.Speed = GPIO_SPEED_FREQ_LOW;
  HAL_GPIO_Init(GPIOE, &GPIO_InitStruct);

  /*Configure GPIO pins : A0_Pin A1_Pin A2_Pin A3_Pin
                           A4_Pin A5_Pin SDNRAS_Pin A6_Pin
                           A7_Pin A8_Pin A9_Pin */
  GPIO_InitStruct.Pin = A0_Pin|A1_Pin|A2_Pin|A3_Pin
                          |A4_Pin|A5_Pin|SDNRAS_Pin|A6_Pin
                          |A7_Pin|A8_Pin|A9_Pin;
  GPIO_InitStruct.Mode = GPIO_MODE_AF_PP;
  GPIO_InitStruct.Pull = GPIO_NOPULL;
  GPIO_InitStruct.Speed = GPIO_SPEED_FREQ_VERY_HIGH;
  GPIO_InitStruct.Alternate = GPIO_AF12_FMC;
  HAL_GPIO_Init(GPIOF, &GPIO_InitStruct);

  /*Configure GPIO pins : SPI5_SCK_Pin SPI5_MISO_Pin SPI5_MOSI_Pin */
  GPIO_InitStruct.Pin = SPI5_SCK_Pin|SPI5_MISO_Pin|SPI5_MOSI_Pin;
  GPIO_InitStruct.Mode = GPIO_MODE_AF_PP;
  GPIO_InitStruct.Pull = GPIO_NOPULL;
  GPIO_InitStruct.Speed = GPIO_SPEED_FREQ_LOW;
  GPIO_InitStruct.Alternate = GPIO_AF5_SPI5;
  HAL_GPIO_Init(GPIOF, &GPIO_InitStruct);

  /*Configure GPIO pin : ENABLE_Pin */
  GPIO_InitStruct.Pin = ENABLE_Pin;
  GPIO_InitStruct.Mode = GPIO_MODE_AF_PP;
  GPIO_InitStruct.Pull = GPIO_NOPULL;
  GPIO_InitStruct.Speed = GPIO_SPEED_FREQ_LOW;
  GPIO_InitStruct.Alternate = GPIO_AF14_LTDC;
  HAL_GPIO_Init(ENABLE_GPIO_Port, &GPIO_InitStruct);

  /*Configure GPIO pin : SDNWE_Pin */
  GPIO_InitStruct.Pin = SDNWE_Pin;
  GPIO_InitStruct.Mode = GPIO_MODE_AF_PP;
  GPIO_InitStruct.Pull = GPIO_NOPULL;
  GPIO_InitStruct.Speed = GPIO_SPEED_FREQ_VERY_HIGH;
  GPIO_InitStruct.Alternate = GPIO_AF12_FMC;
  HAL_GPIO_Init(SDNWE_GPIO_Port, &GPIO_InitStruct);

  /*Configure GPIO pin : B1_Pin */
  GPIO_InitStruct.Pin = B1_Pin;
  GPIO_InitStruct.Mode = GPIO_MODE_EVT_RISING;
  GPIO_InitStruct.Pull = GPIO_NOPULL;
  HAL_GPIO_Init(B1_GPIO_Port, &GPIO_InitStruct);

  /*Configure GPIO pins : B5_Pin VSYNC_Pin G2_Pin R4_Pin
                           R5_Pin */
  GPIO_InitStruct.Pin = B5_Pin|VSYNC_Pin|G2_Pin|R4_Pin
                          |R5_Pin;
  GPIO_InitStruct.Mode = GPIO_MODE_AF_PP;
  GPIO_InitStruct.Pull = GPIO_NOPULL;
  GPIO_InitStruct.Speed = GPIO_SPEED_FREQ_LOW;
  GPIO_InitStruct.Alternate = GPIO_AF14_LTDC;
  HAL_GPIO_Init(GPIOA, &GPIO_InitStruct);

  /*Configure GPIO pins : R3_Pin R6_Pin */
  GPIO_InitStruct.Pin = R3_Pin|R6_Pin;
  GPIO_InitStruct.Mode = GPIO_MODE_AF_PP;
  GPIO_InitStruct.Pull = GPIO_NOPULL;
  GPIO_InitStruct.Speed = GPIO_SPEED_FREQ_LOW;
  GPIO_InitStruct.Alternate = GPIO_AF9_LTDC;
  HAL_GPIO_Init(GPIOB, &GPIO_InitStruct);

  /*Configure GPIO pin : BOOT1_Pin */
  GPIO_InitStruct.Pin = BOOT1_Pin;
  GPIO_InitStruct.Mode = GPIO_MODE_INPUT;
  GPIO_InitStruct.Pull = GPIO_NOPULL;
  HAL_GPIO_Init(BOOT1_GPIO_Port, &GPIO_InitStruct);

  /*Configure GPIO pins : A10_Pin A11_Pin BA0_Pin BA1_Pin
                           SDCLK_Pin SDNCAS_Pin */
  GPIO_InitStruct.Pin = A10_Pin|A11_Pin|BA0_Pin|BA1_Pin
                          |SDCLK_Pin|SDNCAS_Pin;
  GPIO_InitStruct.Mode = GPIO_MODE_AF_PP;
  GPIO_InitStruct.Pull = GPIO_NOPULL;
  GPIO_InitStruct.Speed = GPIO_SPEED_FREQ_VERY_HIGH;
  GPIO_InitStruct.Alternate = GPIO_AF12_FMC;
  HAL_GPIO_Init(GPIOG, &GPIO_InitStruct);

  /*Configure GPIO pins : D4_Pin D5_Pin D6_Pin D7_Pin
                           D8_Pin D9_Pin D10_Pin D11_Pin
                           D12_Pin NBL0_Pin NBL1_Pin */
  GPIO_InitStruct.Pin = D4_Pin|D5_Pin|D6_Pin|D7_Pin
                          |D8_Pin|D9_Pin|D10_Pin|D11_Pin
                          |D12_Pin|NBL0_Pin|NBL1_Pin;
  GPIO_InitStruct.Mode = GPIO_MODE_AF_PP;
  GPIO_InitStruct.Pull = GPIO_NOPULL;
  GPIO_InitStruct.Speed = GPIO_SPEED_FREQ_VERY_HIGH;
  GPIO_InitStruct.Alternate = GPIO_AF12_FMC;
  HAL_GPIO_Init(GPIOE, &GPIO_InitStruct);

  /*Configure GPIO pins : G4_Pin G5_Pin B6_Pin B7_Pin */
  GPIO_InitStruct.Pin = G4_Pin|G5_Pin|B6_Pin|B7_Pin;
  GPIO_InitStruct.Mode = GPIO_MODE_AF_PP;
  GPIO_InitStruct.Pull = GPIO_NOPULL;
  GPIO_InitStruct.Speed = GPIO_SPEED_FREQ_LOW;
  GPIO_InitStruct.Alternate = GPIO_AF14_LTDC;
  HAL_GPIO_Init(GPIOB, &GPIO_InitStruct);

  /*Configure GPIO pins : D13_Pin D14_Pin D15_Pin D0_Pin
                           D1_Pin D2_Pin D3_Pin */
  GPIO_InitStruct.Pin = D13_Pin|D14_Pin|D15_Pin|D0_Pin
                          |D1_Pin|D2_Pin|D3_Pin;
  GPIO_InitStruct.Mode = GPIO_MODE_AF_PP;
  GPIO_InitStruct.Pull = GPIO_NOPULL;
  GPIO_InitStruct.Speed = GPIO_SPEED_FREQ_VERY_HIGH;
  GPIO_InitStruct.Alternate = GPIO_AF12_FMC;
  HAL_GPIO_Init(GPIOD, &GPIO_InitStruct);

  /*Configure GPIO pins : R7_Pin DOTCLK_Pin B3_Pin */
  GPIO_InitStruct.Pin = R7_Pin|DOTCLK_Pin|B3_Pin;
  GPIO_InitStruct.Mode = GPIO_MODE_AF_PP;
  GPIO_InitStruct.Pull = GPIO_NOPULL;
  GPIO_InitStruct.Speed = GPIO_SPEED_FREQ_LOW;
  GPIO_InitStruct.Alternate = GPIO_AF14_LTDC;
  HAL_GPIO_Init(GPIOG, &GPIO_InitStruct);

  /*Configure GPIO pins : HSYNC_Pin G6_Pin R2_Pin */
  GPIO_InitStruct.Pin = HSYNC_Pin|G6_Pin|R2_Pin;
  GPIO_InitStruct.Mode = GPIO_MODE_AF_PP;
  GPIO_InitStruct.Pull = GPIO_NOPULL;
  GPIO_InitStruct.Speed = GPIO_SPEED_FREQ_LOW;
  GPIO_InitStruct.Alternate = GPIO_AF14_LTDC;
  HAL_GPIO_Init(GPIOC, &GPIO_InitStruct);

  /*Configure GPIO pin : I2C3_SDA_Pin */
  GPIO_InitStruct.Pin = I2C3_SDA_Pin;
  GPIO_InitStruct.Mode = GPIO_MODE_AF_OD;
  GPIO_InitStruct.Pull = GPIO_PULLUP;
  GPIO_InitStruct.Speed = GPIO_SPEED_FREQ_LOW;
  GPIO_InitStruct.Alternate = GPIO_AF4_I2C3;
  HAL_GPIO_Init(I2C3_SDA_GPIO_Port, &GPIO_InitStruct);

  /*Configure GPIO pin : I2C3_SCL_Pin */
  GPIO_InitStruct.Pin = I2C3_SCL_Pin;
  GPIO_InitStruct.Mode = GPIO_MODE_AF_OD;
  GPIO_InitStruct.Pull = GPIO_PULLUP;
  GPIO_InitStruct.Speed = GPIO_SPEED_FREQ_LOW;
  GPIO_InitStruct.Alternate = GPIO_AF4_I2C3;
  HAL_GPIO_Init(I2C3_SCL_GPIO_Port, &GPIO_InitStruct);

  /*Configure GPIO pins : STLINK_RX_Pin STLINK_TX_Pin */
  GPIO_InitStruct.Pin = STLINK_RX_Pin|STLINK_TX_Pin;
  GPIO_InitStruct.Mode = GPIO_MODE_AF_PP;
  GPIO_InitStruct.Pull = GPIO_NOPULL;
  GPIO_InitStruct.Speed = GPIO_SPEED_FREQ_VERY_HIGH;
  GPIO_InitStruct.Alternate = GPIO_AF7_USART1;
  HAL_GPIO_Init(GPIOA, &GPIO_InitStruct);

  /*Configure GPIO pins : G7_Pin B2_Pin */
  GPIO_InitStruct.Pin = G7_Pin|B2_Pin;
  GPIO_InitStruct.Mode = GPIO_MODE_AF_PP;
  GPIO_InitStruct.Pull = GPIO_NOPULL;
  GPIO_InitStruct.Speed = GPIO_SPEED_FREQ_LOW;
  GPIO_InitStruct.Alternate = GPIO_AF14_LTDC;
  HAL_GPIO_Init(GPIOD, &GPIO_InitStruct);

  /*Configure GPIO pins : G3_Pin B4_Pin */
  GPIO_InitStruct.Pin = G3_Pin|B4_Pin;
  GPIO_InitStruct.Mode = GPIO_MODE_AF_PP;
  GPIO_InitStruct.Pull = GPIO_NOPULL;
  GPIO_InitStruct.Speed = GPIO_SPEED_FREQ_LOW;
  GPIO_InitStruct.Alternate = GPIO_AF9_LTDC;
  HAL_GPIO_Init(GPIOG, &GPIO_InitStruct);

  /*Configure GPIO pins : LD3_Pin LD4_Pin */
  GPIO_InitStruct.Pin = LD3_Pin|LD4_Pin;
  GPIO_InitStruct.Mode = GPIO_MODE_OUTPUT_PP;
  GPIO_InitStruct.Pull = GPIO_NOPULL;
  GPIO_InitStruct.Speed = GPIO_SPEED_FREQ_LOW;
  HAL_GPIO_Init(GPIOG, &GPIO_InitStruct);

  /*Configure GPIO pins : SDCKE1_Pin SDNE1_Pin */
  GPIO_InitStruct.Pin = SDCKE1_Pin|SDNE1_Pin;
  GPIO_InitStruct.Mode = GPIO_MODE_AF_PP;
  GPIO_InitStruct.Pull = GPIO_NOPULL;
  GPIO_InitStruct.Speed = GPIO_SPEED_FREQ_VERY_HIGH;
  GPIO_InitStruct.Alternate = GPIO_AF12_FMC;
  HAL_GPIO_Init(GPIOB, &GPIO_InitStruct);

  /* EXTI interrupt init*/
  HAL_NVIC_SetPriority(EXTI2_IRQn, 0, 1);
  HAL_NVIC_EnableIRQ(EXTI2_IRQn);

  HAL_NVIC_SetPriority(EXTI3_IRQn, 0, 1);
  HAL_NVIC_EnableIRQ(EXTI3_IRQn);

}

/* USER CODE BEGIN 4 */
void HAL_GPIO_EXTI_Callback(uint16_t GPIO_Pin)
{
	if (GPIO_Pin == enc1_Pin || GPIO_Pin == enc2_Pin){
		encoder_routine(GPIO_Pin);
	}
}

/* USER CODE END 4 */

void _Error_Handler(char * file, int line)
{
  while(1)
  {
  }
}

/************************ (C) COPYRIGHT STMicroelectronics *****END OF FILE****/
